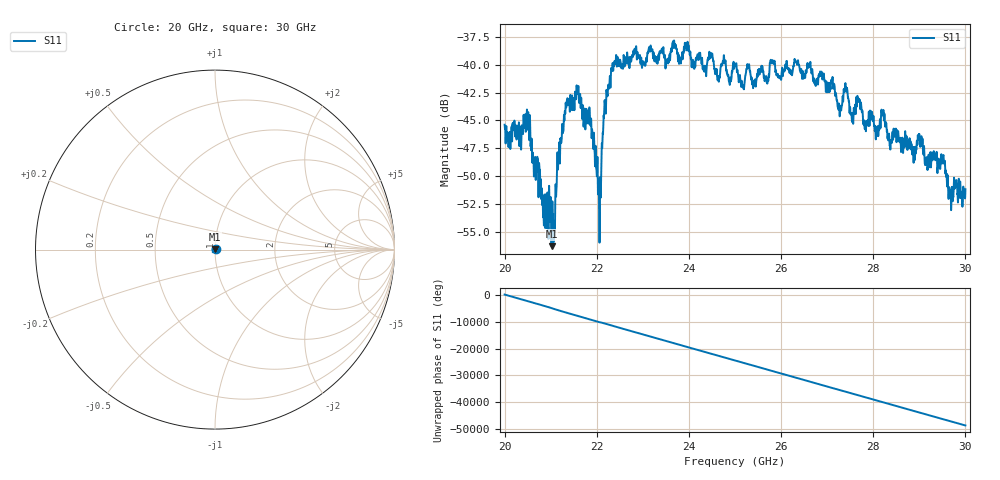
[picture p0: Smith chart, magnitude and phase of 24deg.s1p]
#  HZ  S  RI  R  50.00
! Rohde & Schwarz ZVA40 4Ports - Version 3.90 - 1145.1110k42 SN: 100403
! Date: 2023-10-03 12:47:10
! Measurement: S12
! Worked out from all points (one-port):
!   5001 points, 20 GHz to 30 GHz, reference 50 ohm
!   lowest |S11| = -56.3 dB at 21.02 GHz (marker M1), VSWR 1.00, Z = 50.1 + j0.113 ohm
!   |S11| at or under -10 dB: start of sweep to end of sweep
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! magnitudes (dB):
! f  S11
! 20 GHz  -45.4
! 20.51 GHz  -44.3
! 20.84 GHz  -53.4
! 21.02 GHz  -56.3
! 21.06 GHz  -55.2
! 21.25 GHz  -45.3
! 21.35 GHz  -43.3
! 21.59 GHz  -42.2
! 21.87 GHz  -45.1
! 22.05 GHz  -51.3
! 22.21 GHz  -42.3
! 22.36 GHz  -40.5
! 22.5 GHz  -39.7
! 23.75 GHz  -39.0
! 25 GHz  -40.0
! 25.16 GHz  -42.0
! 25.28 GHz  -40.3
! 25.42 GHz  -41.4
! 25.81 GHz  -39.7
! 26.25 GHz  -40.6
! 26.89 GHz  -40.9
! 27.27 GHz  -44.5
! 27.4 GHz  -42.2
! 27.5 GHz  -43.9
! 28.75 GHz  -47.0
! 29.51 GHz  -48.3
! 29.68 GHz  -51.2
! 30 GHz  -51.2
